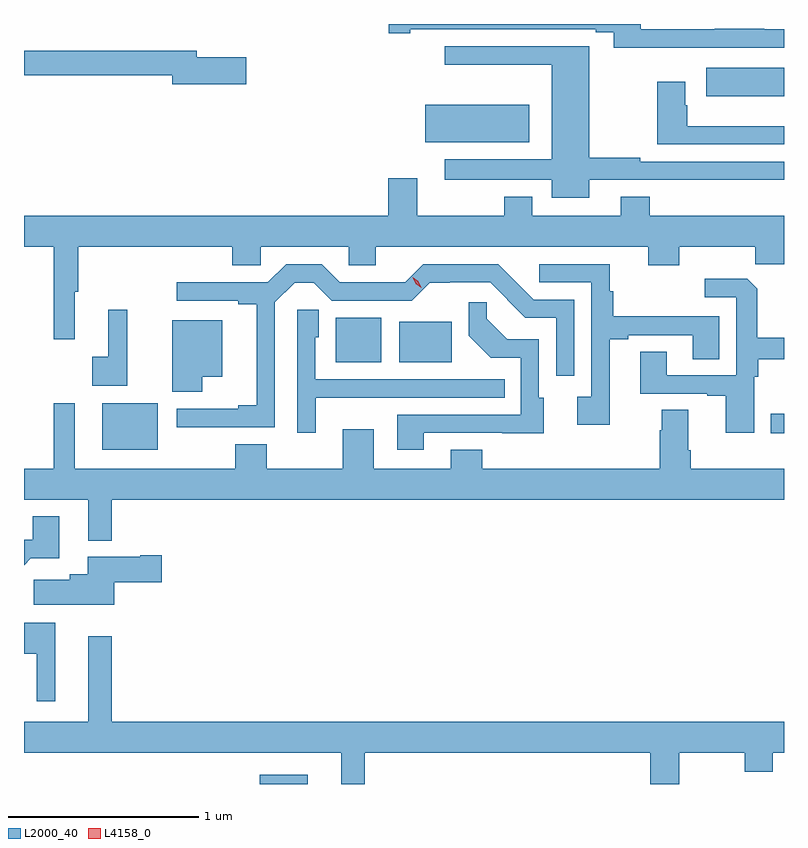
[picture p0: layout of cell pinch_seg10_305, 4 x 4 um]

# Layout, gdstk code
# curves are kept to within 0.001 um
import gdstk
lib = gdstk.Library(unit=1e-6, precision=1e-09)
def R(c, l, rs):  # rectangles x0, y0, x1, y1
    for r in rs: c.add(gdstk.rectangle(r[:2], r[2:], *l))
def P(c, l, *ps):  # polygons
    for p in ps: c.add(gdstk.Polygon(p, *l))
L2000_40 = (2000, 40)
L4158_0 = (4158, 0)

pinch_seg10_305 = lib.new_cell('pinch_seg10_305')
R(pinch_seg10_305, L2000_40, [(423.77,1284.168,424.021,1284.217), (422.939,1285.928,423.232,1286.173), (426.459,1286.015,426.528,1286.117), (424.169,1286.387,424.408,1286.623), (424.502,1286.387,424.78,1286.602), (424.64,1287.545,425.188,1287.742), (426.12,1287.788,426.528,1287.937)])
P(pinch_seg10_305, L2000_40, [(426.032,1288.044),(426.528,1288.044),(426.528,1288.14),(426.425,1288.14),(426.425,1288.142),(426.163,1288.142),(426.163,1288.14),(425.773,1288.14),(425.773,1288.168),(424.449,1288.168),(424.449,1288.12),(424.561,1288.12),(424.561,1288.14),(425.537,1288.14),(425.537,1288.124),(425.633,1288.124),(425.633,1288.043),(426.032,1288.043)],
  [(425.503,1287.348),(425.905,1287.348),(425.905,1287.347),(426.528,1287.347),(426.528,1287.444),(425.771,1287.444),(425.771,1287.464),(425.503,1287.464),(425.503,1287.947),(425.502,1287.947),(425.502,1288.05),(424.743,1288.05),(424.743,1287.953),(425.306,1287.953),(425.306,1287.457),(424.743,1287.457),(424.743,1287.347),(425.306,1287.347),(425.306,1287.254),(425.503,1287.254)],
  [(423.697,1287.993),(423.436,1287.993),(423.436,1288.027),(422.528,1288.027),(422.528,1287.898),(423.308,1287.898),(423.308,1287.851),(423.697,1287.851)],
  [(426.528,1287.631),(426.02,1287.631),(426.02,1287.74),(426.007,1287.74),(426.007,1287.865),(425.86,1287.865),(425.86,1287.534),(426.528,1287.534)],
  [(425.822,1287.259),(425.669,1287.259),(425.669,1287.16),(425.203,1287.16),(425.203,1287.259),(425.056,1287.259),(425.056,1287.16),(424.597,1287.16),(424.597,1287.355),(424.445,1287.355),(424.445,1287.16),(422.528,1287.16),(422.528,1286.996),(422.685,1286.996),(422.685,1286.508),(422.795,1286.508),(422.795,1286.76),(422.813,1286.76),(422.813,1286.996),(423.623,1286.996),(423.623,1286.898),(423.774,1286.898),(423.774,1286.996),(424.236,1286.996),(424.236,1286.898),(424.378,1286.898),(424.378,1286.996),(425.813,1286.996),(425.813,1286.897),(425.977,1286.897),(425.977,1286.996),(426.377,1286.996),(426.377,1286.903),(426.528,1286.903),(426.528,1287.16),(425.822,1287.16)],
  [(423.545,1286.046),(423.849,1286.046),(423.849,1286.703),(423.953,1286.807),(424.054,1286.807),(424.149,1286.712),(424.569,1286.712),(424.664,1286.807),(424.983,1286.808),(425.073,1286.718),(425.071,1286.716),(425.165,1286.622),(425.328,1286.622),(425.328,1286.316),(425.424,1286.316),(425.424,1286.718),(425.211,1286.718),(425.023,1286.904),(424.629,1286.904),(424.535,1286.81),(424.43,1286.81),(424.43,1286.808),(424.191,1286.808),(424.095,1286.904),(423.908,1286.904),(423.812,1286.808),(423.579,1286.808),(423.579,1286.81),(423.333,1286.81),(423.333,1286.712),(423.656,1286.712),(423.656,1286.692),(423.752,1286.692),(423.752,1286.162),(423.656,1286.162),(423.656,1286.142),(423.333,1286.142),(423.333,1286.045)],
  [(425.611,1286.509),(425.707,1286.509),(425.707,1286.529),(426.047,1286.529),(426.047,1286.404),(426.187,1286.404),(426.187,1286.63),(425.63,1286.63),(425.63,1286.762),(425.612,1286.762),(425.612,1286.904),(425.241,1286.904),(425.241,1286.808),(425.514,1286.808),(425.514,1286.206),(425.439,1286.206),(425.439,1286.058),(425.611,1286.058)],
  [(426.372,1286.312),(426.392,1286.312),(426.392,1286.404),(426.528,1286.404),(426.528,1286.518),(426.387,1286.518),(426.387,1286.775),(426.335,1286.827),(426.111,1286.827),(426.111,1286.73),(426.276,1286.73),(426.276,1286.319),(425.911,1286.319),(425.911,1286.444),(425.771,1286.444),(425.771,1286.223),(426.125,1286.223),(426.125,1286.211),(426.221,1286.211),(426.221,1286.016),(426.372,1286.016)],
  [(424.633,1286.016),(425.263,1286.015),(425.263,1286.202),(425.238,1286.202),(425.238,1286.508),(425.072,1286.508),(424.964,1286.616),(424.964,1286.704),(424.869,1286.704),(424.869,1286.528),(424.985,1286.412),(425.142,1286.412),(425.142,1286.112),(424.493,1286.112),(424.493,1285.926),(424.633,1285.926)],
  [(423.072,1286.665),(422.972,1286.665),(422.972,1286.417),(422.886,1286.417),(422.886,1286.264),(423.072,1286.264)],
  [(424.063,1286.201),(424.397,1286.201),(424.397,1286.202),(425.057,1286.202),(425.057,1286.298),(424.062,1286.298),(424.062,1286.52),(424.078,1286.52),(424.078,1286.663),(423.966,1286.663),(423.966,1286.016),(424.063,1286.016)],
  [(423.466,1286.312),(423.571,1286.312),(423.571,1286.608),(423.308,1286.608),(423.308,1286.232),(423.466,1286.232)],
  [(422.989,1285.664),(426.528,1285.664),(426.528,1285.828),(426.038,1285.828),(426.038,1285.924),(426.025,1285.924),(426.025,1286.138),(425.885,1286.138),(425.885,1286.03),(425.873,1286.03),(425.873,1285.828),(424.939,1285.828),(424.939,1285.927),(424.775,1285.927),(424.775,1285.828),(424.369,1285.828),(424.369,1286.035),(424.205,1286.035),(424.205,1285.828),(423.805,1285.828),(423.805,1285.957),(423.641,1285.957),(423.641,1285.828),(422.794,1285.828),(422.794,1286.173),(422.685,1286.173),(422.685,1285.828),(422.528,1285.828),(422.528,1285.664),(422.867,1285.664),(422.867,1285.448),(422.989,1285.448)],
  [(422.564,1285.355),(422.713,1285.355),(422.713,1285.576),(422.573,1285.576),(422.573,1285.453),(422.528,1285.453),(422.528,1285.319)],
  [(423.004,1285.229),(423.253,1285.229),(423.253,1285.371),(423.14,1285.371),(423.14,1285.363),(422.864,1285.363),(422.864,1285.273),(422.768,1285.273),(422.768,1285.242),(422.579,1285.242),(422.579,1285.112),(423.004,1285.112)],
  [(422.692,1285.018),(422.528,1285.018),(422.528,1284.854),(422.594,1284.854),(422.594,1284.603),(422.692,1284.603)],
  [(424.321,1284.332),(425.825,1284.332),(425.825,1284.168),(425.977,1284.168),(425.977,1284.332),(426.322,1284.332),(426.322,1284.233),(426.469,1284.233),(426.469,1284.332),(426.528,1284.332),(426.528,1284.496),(422.989,1284.496),(422.989,1284.946),(422.867,1284.946),(422.867,1284.496),(422.528,1284.496),(422.528,1284.332),(424.199,1284.332),(424.199,1284.168),(424.321,1284.168)])
P(pinch_seg10_305, L4158_0, [(424.62,1286.78),(424.589,1286.801),(424.573,1286.835),(424.573,1286.835),(424.573,1286.835),(424.604,1286.814),(424.62,1286.78),(424.62,1286.78)])

lib.write_gds('pinch_seg10_305.gds')
